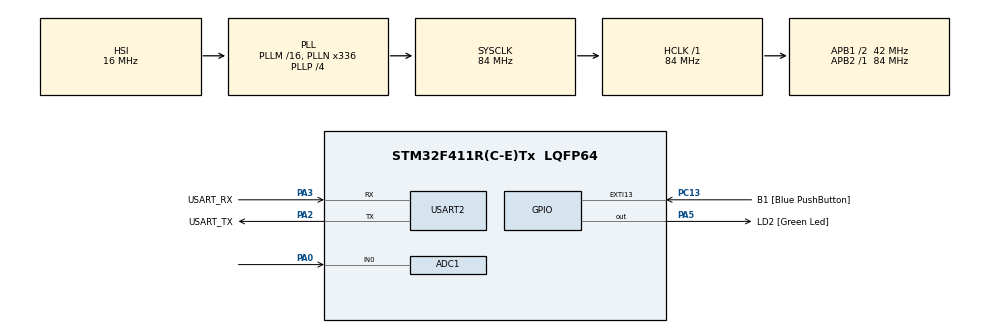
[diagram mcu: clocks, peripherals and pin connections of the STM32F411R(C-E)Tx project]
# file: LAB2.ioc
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ADC1.Channel-0\#ChannelRegularConversion=ADC_CHANNEL_0
ADC1.Channel-1\#ChannelRegularConversion=ADC_CHANNEL_TEMPSENSOR
ADC1.ContinuousConvMode=ENABLE
ADC1.DMAContinuousRequests=ENABLE
ADC1.EOCSelection=ADC_EOC_SEQ_CONV
ADC1.InjNumberOfConversion=0
ADC1.NbrOfConversion=2
ADC1.NbrOfConversionFlag=1
ADC1.Rank-0\#ChannelRegularConversion=1
ADC1.Rank-1\#ChannelRegularConversion=2
ADC1.SamplingTime-0\#ChannelRegularConversion=ADC_SAMPLETIME_56CYCLES
ADC1.SamplingTime-1\#ChannelRegularConversion=ADC_SAMPLETIME_56CYCLES
ADC1.master=1
Dma.ADC1.0.Direction=DMA_PERIPH_TO_MEMORY
Dma.ADC1.0.FIFOMode=DMA_FIFOMODE_DISABLE
Dma.ADC1.0.Instance=DMA2_Stream0
Dma.ADC1.0.MemDataAlignment=DMA_MDATAALIGN_HALFWORD
Dma.ADC1.0.MemInc=DMA_MINC_ENABLE
Dma.ADC1.0.Mode=DMA_CIRCULAR
Dma.ADC1.0.PeriphDataAlignment=DMA_PDATAALIGN_HALFWORD
Dma.ADC1.0.PeriphInc=DMA_PINC_DISABLE
Dma.ADC1.0.Priority=DMA_PRIORITY_LOW
Dma.Request0=ADC1
Mcu.Family=STM32F4
Mcu.Name=STM32F411R(C-E)Tx
Mcu.Package=LQFP64
NVIC.ADC_IRQn=true\:0\:0\:false\:false\:true\:true\:true\:true
NVIC.DMA2_Stream0_IRQn=true\:0\:0\:false\:false\:true\:false\:true\:true
NVIC.PriorityGroup=NVIC_PRIORITYGROUP_0
PA0-WKUP.Signal=ADCx_IN0
PA13.GPIO_Label=TMS
PA13.Mode=Serial_Wire
PA13.Signal=SYS_JTMS-SWDIO
PA14.GPIO_Label=TCK
PA14.Mode=Serial_Wire
PA14.Signal=SYS_JTCK-SWCLK
PA2.GPIO_Label=USART_TX
PA2.Mode=Asynchronous
PA2.Signal=USART2_TX
PA3.GPIO_Label=USART_RX
PA3.Mode=Asynchronous
PA3.Signal=USART2_RX
PA5.GPIO_Label=LD2 [Green Led]
PA5.Signal=GPIO_Output
PB3.GPIO_Label=SWO
PB3.Signal=SYS_JTDO-SWO
PC13-ANTI_TAMP.GPIO_Label=B1 [Blue PushButton]
PC13-ANTI_TAMP.GPIO_ModeDefaultEXTI=GPIO_MODE_IT_FALLING
PC13-ANTI_TAMP.Signal=GPXTI13
PC14-OSC32_IN.Mode=LSE-External-Oscillator
PC14-OSC32_IN.Signal=RCC_OSC32_IN
PC15-OSC32_OUT.Mode=LSE-External-Oscillator
PC15-OSC32_OUT.Signal=RCC_OSC32_OUT
PH0\ -\ OSC_IN.Mode=HSE-External-Clock-Source
PH0\ -\ OSC_IN.Signal=RCC_OSC_IN
PH1\ -\ OSC_OUT.Mode=HSE-External-Clock-Source
PH1\ -\ OSC_OUT.Signal=RCC_OSC_OUT
ProjectManager.HeapSize=0x200
ProjectManager.StackSize=0x400
ProjectManager.TargetToolchain=STM32CubeIDE
RCC.48MHZClocksFreq_Value=84000000
RCC.AHBFreq_Value=84000000
RCC.APB1CLKDivider=RCC_HCLK_DIV2
RCC.APB1Freq_Value=42000000
RCC.APB1TimFreq_Value=84000000
RCC.APB2Freq_Value=84000000
RCC.APB2TimFreq_Value=84000000
RCC.CortexFreq_Value=84000000
RCC.FLatency-AdvancedSettings=FLASH_LATENCY_2
RCC.HCLKFreq_Value=84000000
RCC.HSE_VALUE=8000000
RCC.HSI_VALUE=16000000
RCC.PLLN=336
RCC.PLLP=RCC_PLLP_DIV4
RCC.SYSCLKFreq_VALUE=84000000
RCC.SYSCLKSource=RCC_SYSCLKSOURCE_PLLCLK
RCC.VCOOutputFreq_Value=336000000
SH.ADCx_IN0.0=ADC1_IN0,IN0
USART2.VirtualMode=VM_ASYNC
VP_ADC1_TempSens_Input.Mode=IN-TempSens
board=NUCLEO-F411RE

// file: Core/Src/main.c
/* USER CODE BEGIN Header */
/**
  ******************************************************************************
  * @file           : main.c
  * @brief          : Main program body
  ******************************************************************************
  * @attention
  *
  * Copyright (c) 2023 STMicroelectronics.
  * All rights reserved.
  *
  * This software is licensed under terms that can be found in the LICENSE file
  * in the root directory of this software component.
  * If no LICENSE file comes with this software, it is provided AS-IS.
  *
  ******************************************************************************
  */
/* USER CODE END Header */
#include "main.h"

ADC_HandleTypeDef hadc1;
DMA_HandleTypeDef hdma_adc1;

UART_HandleTypeDef huart2;

/* USER CODE BEGIN PV */
uint16_t adcRawData[20];
float avgadcV = 0;
float avgadcT = 0;
float Vin25 = 0,Vin50 = 0,K = 0,C = 0;
/* USER CODE END PV */

void SystemClock_Config(void);
static void MX_GPIO_Init(void);
static void MX_DMA_Init(void);
static void MX_USART2_UART_Init(void);
static void MX_ADC1_Init(void);
/* USER CODE BEGIN PFP */
void VoltageConverter();
void TemperatureConverter();
/* USER CODE END PFP */

int main(void)
{

  /* MCU Configuration--------------------------------------------------------*/

  /* Reset of all peripherals, Initializes the Flash interface and the Systick. */
  HAL_Init();

  /* Configure the system clock */
  SystemClock_Config();

  /* Initialize all configured peripherals */
  MX_GPIO_Init();
  MX_DMA_Init();
  MX_USART2_UART_Init();
  MX_ADC1_Init();
  /* USER CODE BEGIN 2 */
  HAL_ADC_Start_DMA(&hadc1, adcRawData, 20);
  /* USER CODE END 2 */

  /* Infinite loop */
  while (1)
  {

    /* USER CODE BEGIN 3 */
		static uint32_t timestamp = 0;
		if (HAL_GetTick() >= timestamp) {
			timestamp = HAL_GetTick() + 1000;
			VoltageConverter();
			TemperatureConverter();

		}
	}
  /* USER CODE END 3 */
}

void SystemClock_Config(void)
{
  RCC_OscInitTypeDef RCC_OscInitStruct = {0};
  RCC_ClkInitTypeDef RCC_ClkInitStruct = {0};

  /** Configure the main internal regulator output voltage
  */
  __HAL_RCC_PWR_CLK_ENABLE();
  __HAL_PWR_VOLTAGESCALING_CONFIG(PWR_REGULATOR_VOLTAGE_SCALE1);

  /** Initializes the RCC Oscillators according to the specified parameters
  * in the RCC_OscInitTypeDef structure.
  */
  RCC_OscInitStruct.OscillatorType = RCC_OSCILLATORTYPE_HSI;
  RCC_OscInitStruct.HSIState = RCC_HSI_ON;
  RCC_OscInitStruct.HSICalibrationValue = RCC_HSICALIBRATION_DEFAULT;
  RCC_OscInitStruct.PLL.PLLState = RCC_PLL_ON;
  RCC_OscInitStruct.PLL.PLLSource = RCC_PLLSOURCE_HSI;
  RCC_OscInitStruct.PLL.PLLM = 16;
  RCC_OscInitStruct.PLL.PLLN = 336;
  RCC_OscInitStruct.PLL.PLLP = RCC_PLLP_DIV4;
  RCC_OscInitStruct.PLL.PLLQ = 4;
  if (HAL_RCC_OscConfig(&RCC_OscInitStruct) != HAL_OK)
  {
    Error_Handler();
  }

  /** Initializes the CPU, AHB and APB buses clocks
  */
  RCC_ClkInitStruct.ClockType = RCC_CLOCKTYPE_HCLK|RCC_CLOCKTYPE_SYSCLK
                              |RCC_CLOCKTYPE_PCLK1|RCC_CLOCKTYPE_PCLK2;
  RCC_ClkInitStruct.SYSCLKSource = RCC_SYSCLKSOURCE_PLLCLK;
  RCC_ClkInitStruct.AHBCLKDivider = RCC_SYSCLK_DIV1;
  RCC_ClkInitStruct.APB1CLKDivider = RCC_HCLK_DIV2;
  RCC_ClkInitStruct.APB2CLKDivider = RCC_HCLK_DIV1;

  if (HAL_RCC_ClockConfig(&RCC_ClkInitStruct, FLASH_LATENCY_2) != HAL_OK)
  {
    Error_Handler();
  }
}

static void MX_ADC1_Init(void)
{

  ADC_ChannelConfTypeDef sConfig = {0};

  /** Configure the global features of the ADC (Clock, Resolution, Data Alignment and number of conversion)
  */
  hadc1.Instance = ADC1;
  hadc1.Init.ClockPrescaler = ADC_CLOCK_SYNC_PCLK_DIV4;
  hadc1.Init.Resolution = ADC_RESOLUTION_12B;
  hadc1.Init.ScanConvMode = ENABLE;
  hadc1.Init.ContinuousConvMode = ENABLE;
  hadc1.Init.DiscontinuousConvMode = DISABLE;
  hadc1.Init.ExternalTrigConvEdge = ADC_EXTERNALTRIGCONVEDGE_NONE;
  hadc1.Init.ExternalTrigConv = ADC_SOFTWARE_START;
  hadc1.Init.DataAlign = ADC_DATAALIGN_RIGHT;
  hadc1.Init.NbrOfConversion = 2;
  hadc1.Init.DMAContinuousRequests = ENABLE;
  hadc1.Init.EOCSelection = ADC_EOC_SEQ_CONV;
  if (HAL_ADC_Init(&hadc1) != HAL_OK)
  {
    Error_Handler();
  }

  /** Configure for the selected ADC regular channel its corresponding rank in the sequencer and its sample time.
  */
  sConfig.Channel = ADC_CHANNEL_0;
  sConfig.Rank = 1;
  sConfig.SamplingTime = ADC_SAMPLETIME_56CYCLES;
  if (HAL_ADC_ConfigChannel(&hadc1, &sConfig) != HAL_OK)
  {
    Error_Handler();
  }

  /** Configure for the selected ADC regular channel its corresponding rank in the sequencer and its sample time.
  */
  sConfig.Channel = ADC_CHANNEL_TEMPSENSOR;
  sConfig.Rank = 2;
  if (HAL_ADC_ConfigChannel(&hadc1, &sConfig) != HAL_OK)
  {
    Error_Handler();
  }

}

static void MX_USART2_UART_Init(void)
{

  huart2.Instance = USART2;
  huart2.Init.BaudRate = 115200;
  huart2.Init.WordLength = UART_WORDLENGTH_8B;
  huart2.Init.StopBits = UART_STOPBITS_1;
  huart2.Init.Parity = UART_PARITY_NONE;
  huart2.Init.Mode = UART_MODE_TX_RX;
  huart2.Init.HwFlowCtl = UART_HWCONTROL_NONE;
  huart2.Init.OverSampling = UART_OVERSAMPLING_16;
  if (HAL_UART_Init(&huart2) != HAL_OK)
  {
    Error_Handler();
  }

}

static void MX_DMA_Init(void)
{

  /* DMA controller clock enable */
  __HAL_RCC_DMA2_CLK_ENABLE();

  /* DMA interrupt init */
  /* DMA2_Stream0_IRQn interrupt configuration */
  HAL_NVIC_SetPriority(DMA2_Stream0_IRQn, 0, 0);
  HAL_NVIC_EnableIRQ(DMA2_Stream0_IRQn);

}

static void MX_GPIO_Init(void)
{
  GPIO_InitTypeDef GPIO_InitStruct = {0};

  /* GPIO Ports Clock Enable */
  __HAL_RCC_GPIOC_CLK_ENABLE();
  __HAL_RCC_GPIOH_CLK_ENABLE();
  __HAL_RCC_GPIOA_CLK_ENABLE();
  __HAL_RCC_GPIOB_CLK_ENABLE();

  /*Configure GPIO pin Output Level */
  HAL_GPIO_WritePin(LD2_GPIO_Port, LD2_Pin, GPIO_PIN_RESET);

  /*Configure GPIO pin : B1_Pin */
  GPIO_InitStruct.Pin = B1_Pin;
  GPIO_InitStruct.Mode = GPIO_MODE_IT_FALLING;
  GPIO_InitStruct.Pull = GPIO_NOPULL;
  HAL_GPIO_Init(B1_GPIO_Port, &GPIO_InitStruct);

  /*Configure GPIO pin : LD2_Pin */
  GPIO_InitStruct.Pin = LD2_Pin;
  GPIO_InitStruct.Mode = GPIO_MODE_OUTPUT_PP;
  GPIO_InitStruct.Pull = GPIO_NOPULL;
  GPIO_InitStruct.Speed = GPIO_SPEED_FREQ_LOW;
  HAL_GPIO_Init(LD2_GPIO_Port, &GPIO_InitStruct);

}

/* USER CODE BEGIN 4 */

void VoltageConverter() {
	register int i = 0, Vsum = 0;
	for (i = 0; i < 20; i += 2) {
		Vsum += adcRawData[i];
	}
	avgadcV = Vsum / 10;
	Vin25 = avgadcV * 0.79;
	Vin50 = avgadcV * 1.59;
}

void TemperatureConverter() {
	register int i = 0, Tsum = 0;
	for (i = 1; i < 20; i += 2) {
		Tsum += adcRawData[i];
	}
	avgadcT = Tsum / 10;
	C = (((avgadcT*0.8)-760)/2.5)+25;
	K = C + 273.15;
}
/* USER CODE END 4 */

void Error_Handler(void)
{
  __disable_irq();
  while (1)
  {
  }
}
